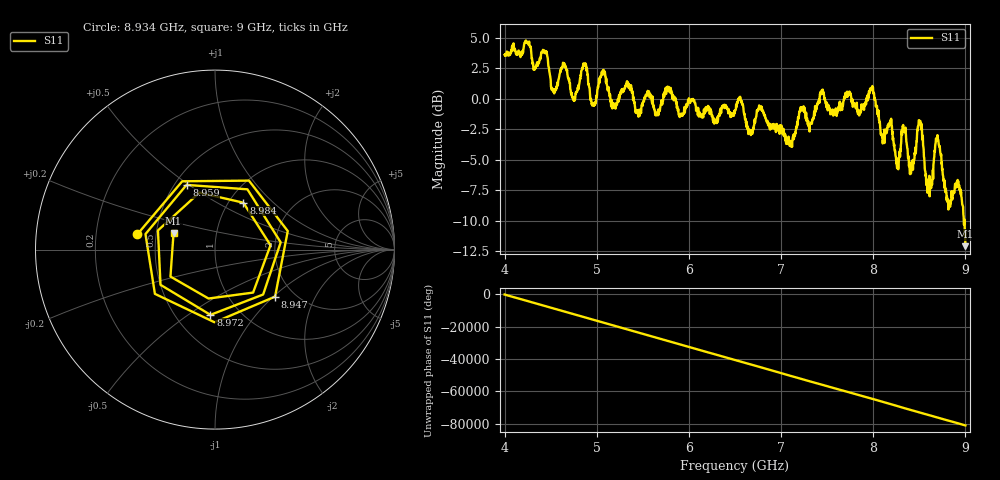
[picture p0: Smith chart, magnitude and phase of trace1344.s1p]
! Created with skrf 1.8.0 (http://scikit-rf.org).
# Hz S RI R 50.0
!freq ReS11 ImS11
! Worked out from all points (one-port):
!   1601 points, 4 GHz to 9 GHz, reference 50 ohm
!   lowest |S11| = -12.1 dB at 9 GHz (marker M1), VSWR 1.66, Z = 30.8 + j6.11 ohm
!   |S11| at or under -10 dB: 8.982602 GHz to 8.989841 GHz (7.239 MHz wide, 0.0806 % of centre); 8.991237 GHz to end of sweep
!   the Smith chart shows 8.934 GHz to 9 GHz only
!   S11 on the Smith chart (normalised r, x): 8.934 GHz: 0.39, +0.08; 8.947 GHz: 1.60, -1.02; 8.959 GHz: 0.57, +0.49; 8.972 GHz: 0.73, -0.61; 8.984 GHz: 1.17, +0.67; 9 GHz: 0.62, +0.12
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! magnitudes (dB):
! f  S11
! 4 GHz  3.6
! 4.438 GHz  3.8
! 4.534 GHz  0.8
! 4.625 GHz  2.6
! 4.744 GHz  0.0
! 4.869 GHz  2.9
! 4.956 GHz  -0.4
! 5.066 GHz  2.3
! 5.25 GHz  0.3
! 5.875 GHz  -0.7
! 6.5 GHz  -0.9
! 7.125 GHz  -3.3
! 7.441 GHz  0.5
! 7.75 GHz  0.4
! 7.984 GHz  0.9
! 8.1 GHz  -3.1
! 8.375 GHz  -4.4
! 8.422 GHz  -5.5
! 8.503 GHz  -2.0
! 8.594 GHz  -6.8
! 8.697 GHz  -3.0
! 8.816 GHz  -9.1
! 8.934 GHz  -7.1
! 8.947 GHz  -7.4
! 8.959 GHz  -8.1
! 8.972 GHz  -8.8
! 8.984 GHz  -10.3
! 9 GHz  -12.1
